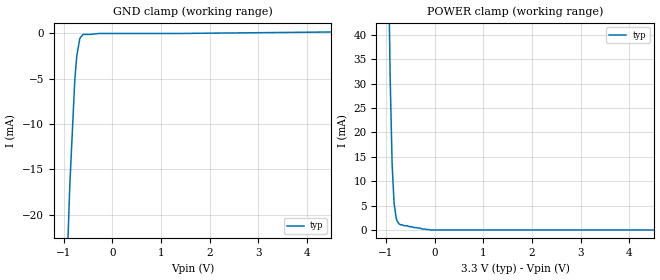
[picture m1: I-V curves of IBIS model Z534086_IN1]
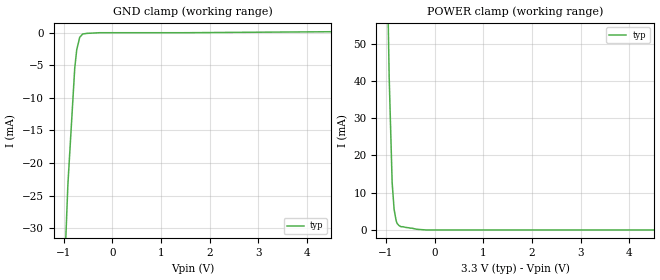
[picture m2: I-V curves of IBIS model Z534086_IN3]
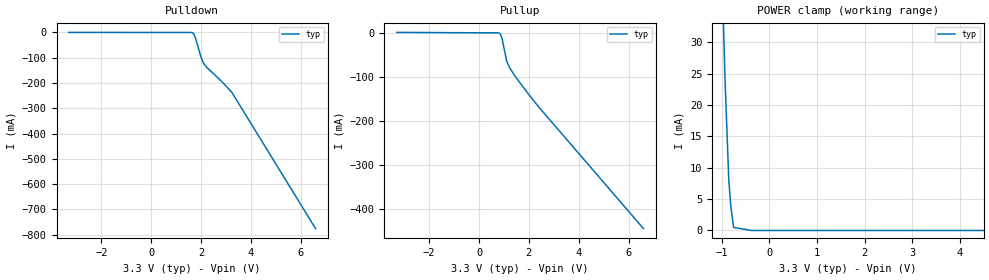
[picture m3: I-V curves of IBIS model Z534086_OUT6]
| YOU ARE ONLY AUTHORIZED TO USE THIS SOFTWARE
| ACCORDING TO LICENSOR'S LICENSE RESTRICTIONS.
[IBIS Ver] 3.1
[File Name] mc100lvel33d_33.ibs
[File Rev] 1
[Source] Derived from mc100lvel51d_pecl.ibs and
|   mc100lvel16d_pecl.ibs Measured and created
|   by ICX Technology
[Date]   9/25/2002
[Copyright]
| (C) COPYRIGHT 1993-2000
| MENTOR GRAPHICS CORPORATION
| ICX STANDARD LIBRARY, ICX PROJECT MODELING,
| ICX CUSTOM MODELING, ICX VENDOR MODEL
| ALL RIGHTS RESERVED.
| THE FOLLOWING ARE TRADEMARKS OR SERVICE MARKS OF
| MENTOR GRAPHICS CORPORATION:ICX (R), ICX STANDARD
| LIBRARY(R), ICX PROJECT MODELING(R), ICX CUSTOM
| MODELING(R), qualityIBIS(TM), MODELVIEWER(TM),
| AND MODELEDITOR(TM)
| ALL COPIES OF SOFTWARE, INCLUDING BUT NOT LIMITED TO
| ANY MODIFICATIONS, ENHANCEMENTS OR DERIVATIVE WORKS,
| MUST CONTAIN ALL MENTOR GRAPHICS CORPORATION'S
| NOTICES AND LEGENDS, INCLUDING THOSE EMBEDDED IN
| SOFTWARE AND THOSE AFFIXED TO SOFTWARE MEDIUM
| AND CONTAINER, AS RECEIVED FROM MENTOR GRAPHICS
| CORPORATION.
|  ZAP Model Builder 2.7
[Component] MC100LVEL33D_33
[Manufacturer] OnSemiconductor
[Package]
| variable   typ   min   max
R_pkg  .152ohms NA NA
L_pkg  2.714nH NA NA
C_pkg  .364pF NA NA
[Pin] signal_name  model_name  R_pin  L_pin C_pin
1 RESET Z534086_IN1 .154 2.924n .374p
2 CLK Z534086_IN3 .15 2.504n .354p
3 _CLK Z534086_IN3 .154 2.924n .374p
4 VBB POWER .154 2.924n .374p
5 VEE GND .154 2.924n .374p
6 _Q Z534086_OUT6 .15 2.504n .354p
7 Q Z534086_OUT6 .15 2.504n .354p
8 VCC POWER .154 2.924n .374p
| Models and submodels in the file (3): Z534086_IN1 (Input_ECL), Z534086_IN3 (Input_ECL), Z534086_OUT6 (Output_ECL)
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| (C) COPYRIGHT 1993-2000
| MENTOR GRAPHICS CORPORATION
| ICX STANDARD LIBRARY, ICX PROJECT MODELING,
| ICX CUSTOM MODELING, ICX VENDOR MODEL
| ALL RIGHTS RESERVED.
| THE FOLLOWING ARE TRADEMARKS OR SERVICE MARKS OF
| MENTOR GRAPHICS CORPORATION:ICX (R), ICX STANDARD
| LIBRARY(R), ICX PROJECT MODELING(R), ICX CUSTOM
| MODELING(R), qualityIBIS(TM), MODELVIEWER(TM),
| AND MODELEDITOR(TM)
| ALL COPIES OF SOFTWARE, INCLUDING BUT NOT LIMITED TO
| ANY MODIFICATIONS, ENHANCEMENTS OR DERIVATIVE WORKS,
| MUST CONTAIN ALL MENTOR GRAPHICS CORPORATION'S
| NOTICES AND LEGENDS, INCLUDING THOSE EMBEDDED IN
| SOFTWARE AND THOSE AFFIXED TO SOFTWARE MEDIUM
| AND CONTAINER, AS RECEIVED FROM MENTOR GRAPHICS
| CORPORATION.
| Model Application Version 1.89 2/18/99.
[Model] Z534086_IN1
Model_type Input_ECL
Vinl = 2.115V
Vinh = 2.301V
C_comp 2.000pF NA NA
| variable typ   min   max
[Voltage Range] 3.300V NA NA
[GND Clamp Reference] 0.000V NA NA
[POWER Clamp Reference] 3.300V NA NA
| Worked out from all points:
|   GND clamp passes 1 mA (typ) near -0.68 V on its own axis
|   POWER clamp passes 1 mA (typ) near -0.66 V on its own axis
[GND Clamp]
-3.3V     -459mA     NA         NA
-1.013V   -38.8mA    NA         NA
-871mV    -16.7mA    NA         NA
-770mV    -5.2mA     NA         NA
-729mV    -2.5mA     NA         NA
-668mV    -600uA     NA         NA
-648mV    -400uA     NA         NA
-597.2mV  -100uA     NA         NA
-435.2mV  -100uA     NA         NA
-273.2mV  0A         NA         NA
1.398V    0A         NA         NA
6.6V      273.1uA    NA         NA
[POWER Clamp]
-3.3V     1.098A     NA         NA
-1.138V   187.2mA    NA         NA
-916mV    31.35mA    NA         NA
-875mV    13.35mA    NA         NA
-835mV    5.456mA    NA         NA
-794mV    2.558mA    NA         NA
-774mV    1.86mA     NA         NA
-733mV    1.262mA    NA         NA
-702.5mV  1.065mA    NA         NA
-83.33mV  0A         NA         NA
6.6V      0A         NA         NA
| Model Application Version 1.89 2/18/99.
[Model] Z534086_IN3
Model_type Input_ECL
Vinl = 2.115V
Vinh = 2.301V
C_comp 2.000pF NA NA
| variable typ   min   max
[Voltage Range] 3.300V NA NA
[GND Clamp Reference] 0.000V NA NA
[POWER Clamp Reference] 3.300V NA NA
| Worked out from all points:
|   GND clamp passes 1 mA (typ) near -0.68 V on its own axis
|   POWER clamp passes 1 mA (typ) near -0.71 V on its own axis
[GND Clamp]
-3.3V     -581.4mA   NA         NA
-1.074V   -54.7mA    NA         NA
-911mV    -23.3mA    NA         NA
-770mV    -5.4mA     NA         NA
-729mV    -2.6mA     NA         NA
-668mV    -700uA     NA         NA
-608mV    -200uA     NA         NA
-526mV    -100uA     NA         NA
-263mV    0A         NA         NA
1.459V    0A         NA         NA
6.6V      261.5uA    NA         NA
[POWER Clamp]
-3.3V     1.127A     NA         NA
-1.138V   192.8mA    NA         NA
-936mV    41.06mA    NA         NA
-875mV    12.76mA    NA         NA
-835mV    5.564mA    NA         NA
-794mV    2.566mA    NA         NA
-774mV    1.767mA    NA         NA
-692.5mV  873.2uA    NA         NA
-178mV    0A         NA         NA
6.6V      0A         NA         NA
| (C) COPYRIGHT 1993-2000
| MENTOR GRAPHICS CORPORATION
| ICX STANDARD LIBRARY, ICX PROJECT MODELING,
| ICX CUSTOM MODELING, ICX VENDOR MODEL
| ALL RIGHTS RESERVED.
| THE FOLLOWING ARE TRADEMARKS OR SERVICE MARKS OF
| MENTOR GRAPHICS CORPORATION:ICX (R), ICX STANDARD
| LIBRARY(R), ICX PROJECT MODELING(R), ICX CUSTOM
| MODELING(R), qualityIBIS(TM), MODELVIEWER(TM),
| AND MODELEDITOR(TM)
| ALL COPIES OF SOFTWARE, INCLUDING BUT NOT LIMITED TO
| ANY MODIFICATIONS, ENHANCEMENTS OR DERIVATIVE WORKS,
| MUST CONTAIN ALL MENTOR GRAPHICS CORPORATION'S
| NOTICES AND LEGENDS, INCLUDING THOSE EMBEDDED IN
| SOFTWARE AND THOSE AFFIXED TO SOFTWARE MEDIUM
| AND CONTAINER, AS RECEIVED FROM MENTOR GRAPHICS
| CORPORATION.
| Model Application Version 1.89 2/18/99.
[Model] Z534086_OUT6
Model_type Output_ECL
Vref=1.300V
Rref=50.00ohms
Cref=0.000F
Vmeas=2.207V
C_comp 2.000pF NA NA
| variable typ   min   max
[Voltage Range] 3.300V NA NA
[POWER Clamp Reference] 3.300V NA NA
[Pullup Reference] 3.300V NA NA
[Pulldown Reference] 3.300V NA NA
[GND Clamp Reference] 0.000V NA NA
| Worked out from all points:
|   POWER clamp passes 1 mA (typ) near -0.76 V on its own axis
[GND Clamp]
-3.3V     0A         NA         NA
6.6V      0A         NA         NA
[Pulldown]
-3.3V     327.9uA    NA         NA
1.557V    0A         NA         NA
1.679V    -2.4mA     NA         NA
1.72V     -7mA       NA         NA
1.78V     -21.5mA    NA         NA
2.003V    -98.1mA    NA         NA
2.064V    -113.9mA   NA         NA
2.125V    -125mA     NA         NA
3.24V     -236.9mA   NA         NA
6.6V      -776.7mA   NA         NA
[Pullup]
-3.3V     919.1uA    NA         NA
726mV     0A         NA         NA
848mV     -2.3mA     NA         NA
889mV     -6.7mA     NA         NA
929mV     -14.8mA    NA         NA
1.111V    -64.5mA    NA         NA
1.233V    -79.7mA    NA         NA
1.456V    -99.3mA    NA         NA
2.368V    -166.4mA   NA         NA
6.6V      -444.4mA   NA         NA
[POWER Clamp]
-3.3V     1.142A     NA         NA
-1.179V   124.5mA    NA         NA
-1.138V   88.98mA    NA         NA
-1.078V   63.7mA     NA         NA
-936mV    24.54mA    NA         NA
-855mV    8.061mA    NA         NA
-814mV    3.972mA    NA         NA
-754mV    488.6uA    NA         NA
-377mV    0A         NA         NA
6.6V      0A         NA         NA
[Ramp]
| variable typ min max
dV/dt_r 399.8m/151.1p NA NA
dV/dt_f 399.8m/109.8p NA NA
R_load = 50.00Ohms
